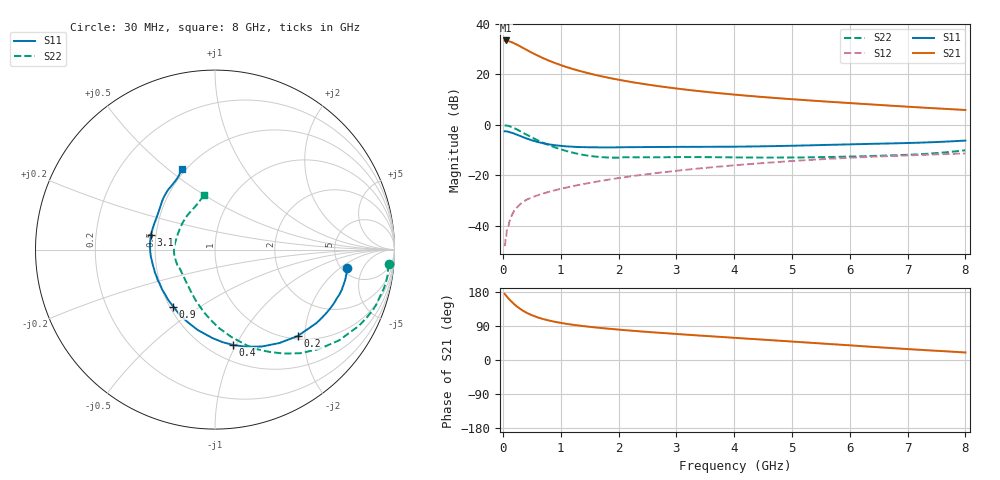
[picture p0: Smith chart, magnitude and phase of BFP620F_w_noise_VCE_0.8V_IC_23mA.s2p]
! Infineon Technologies  Discrete & RF Semiconductors
! BFP620F
! VCE =  0.8 V,  IC =  23 mA
! Common Emitter S-Parameters:  Dec 2014
# GHz  S  MA  R  50
!  f  S11  S21  S12  S22
! GHz  MAG  ANG  MAG  ANG  MAG  ANG  MAG  ANG
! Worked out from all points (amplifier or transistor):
!   95 points, 30 MHz to 8 GHz, reference 50 ohm
!   highest |S21| = 33.5 dB at 50 MHz (marker M1)
!   |S21| within 3 dB of that: start of sweep to 350.1 MHz
!   unconditionally stable (mu >= 1): 2.763 GHz to end of sweep
!   at 300 MHz: K = 0.32, MSG = 31.3 dB, |S12| = -31.5 dB
!   at 3.3 GHz: K = 1.02, MAG = 14.8 dB, |S12| = -17.5 dB
!   at 8 GHz: K = 1.06, MAG = 7.1 dB, |S12| = -11.4 dB
!   lowest NFmin = 0.94 dB at 450 MHz
!   S11 on the Smith chart (normalised r, x): 30 MHz: 5.62, -2.58; 200 MHz: 1.06, -1.84; 400 MHz: 0.65, -0.97; 900 MHz: 0.52, -0.39; 3.1 GHz: 0.47, +0.09; 8 GHz: 0.47, +0.56
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0.03  0.7448 -7.9  46.4 174.7  0.0039 88.3  0.9708 -4.9
0.05  0.7451 -12.7  47.38 170.9  0.0062 88.0  0.972 -8.9
0.08  0.7369 -19.9  46.98 165.5  0.0089 81.4  0.9587 -14.9
0.13  0.7077 -31.9  44.62 156.9  0.0138 79.1  0.9254 -24.3
0.2  0.6665 -46.3  41.33 146.8  0.0202 70.8  0.8564 -36.2
0.25  0.6319 -55.5  38.78 140.4  0.0233 66.8  0.8019 -43.7
0.3  0.6004 -64.0  36.19 134.8  0.0266 64.2  0.748 -50.5
0.35  0.5696 -72.0  33.55 129.8  0.0293 62.6  0.6956 -56.4
0.4  0.5407 -79.2  31.3 125.5  0.0322 61.0  0.6463 -61.9
0.5  0.4939 -91.5  27.14 118.3  0.0362 58.6  0.5634 -71.5
0.6  0.4577 -102.3  23.77 112.5  0.0399 57.1  0.4936 -79.6
0.7  0.43 -111.4  21.03 107.9  0.0435 56.8  0.4388 -86.9
0.9  0.3934 -126.3  16.92 100.8  0.0503 56.7  0.3569 -99.5
1.1  0.3731 -138.2  14.06 95.4  0.0569 56.8  0.3019 -111.0
1.4  0.3612 -152.0  11.18 89.3  0.0668 56.9  0.2519 -126.5
2  0.3577 -171.2  7.873 80.3  0.0877 56.5  0.2229 -152.2
2.7  0.3637 174.1  5.85 71.9  0.1121 54.0  0.2272 -168.3
3.1  0.3657 167.4  5.106 67.7  0.1259 52.2  0.2285 -174.8
4.1  0.3699 153.1  3.897 57.6  0.1605 46.8  0.2254 171.5
5.4  0.3945 139.2  3.002 44.7  0.204 37.9  0.2276 149.8
6.7  0.4274 125.8  2.407 31.7  0.2401 28.0  0.2472 127.0
8  0.4875 112.2  1.974 19.8  0.2701 18.3  0.3123 101.0
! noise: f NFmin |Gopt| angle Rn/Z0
0.45  0.94  0.04  2  0.2
0.9  0.98  0.02  6  0.17
1.5  1  0.01  -9  0.15
1.8  1.02  0.01  -17  0.16
1.9  1.02  0  51  0.16
2.4  1.05  0.03  -153  0.15
3.5  1.13  0.06  -161  0.15
5.5  1.28  0.17  234  0.11
6  1.32  0.16  256  0.14
